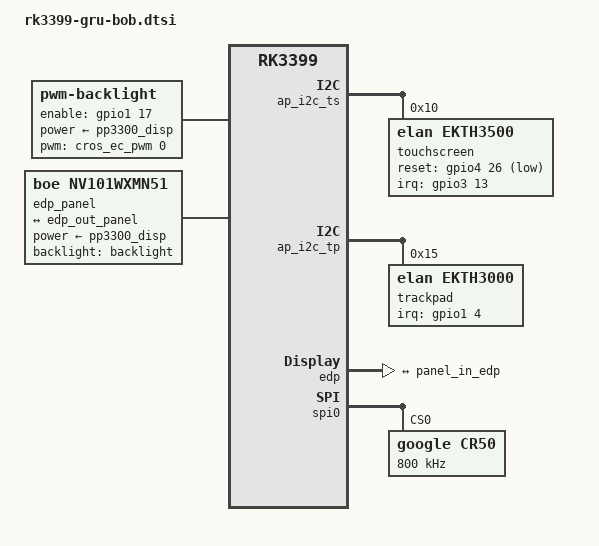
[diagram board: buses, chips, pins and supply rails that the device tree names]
/*
 * Google Gru-Bob board device tree source
 *
 * Copyright 2016 Google, Inc
 *
 * This file is dual-licensed: you can use it either under the terms
 * of the GPL or the X11 license, at your option. Note that this dual
 * licensing only applies to this file, and not this project as a
 * whole.
 *
 *  a) This file is free software; you can redistribute it and/or
 *     modify it under the terms of the GNU General Public License as
 *     published by the Free Software Foundation; either version 2 of the
 *     License, or (at your option) any later version.
 *
 *     This file is distributed in the hope that it will be useful,
 *     but WITHOUT ANY WARRANTY; without even the implied warranty of
 *     MERCHANTABILITY or FITNESS FOR A PARTICULAR PURPOSE.  See the
 *     GNU General Public License for more details.
 *
 *  Or, alternatively,
 *
 *  b) Permission is hereby granted, free of charge, to any person
 *     obtaining a copy of this software and associated documentation
 *     files (the "Software"), to deal in the Software without
 *     restriction, including without limitation the rights to use,
 *     copy, modify, merge, publish, distribute, sublicense, and/or
 *     sell copies of the Software, and to permit persons to whom the
 *     Software is furnished to do so, subject to the following
 *     conditions:
 *
 *     The above copyright notice and this permission notice shall be
 *     included in all copies or substantial portions of the Software.
 *
 *     THE SOFTWARE IS PROVIDED "AS IS", WITHOUT WARRANTY OF ANY KIND,
 *     EXPRESS OR IMPLIED, INCLUDING BUT NOT LIMITED TO THE WARRANTIES
 *     OF MERCHANTABILITY, FITNESS FOR A PARTICULAR PURPOSE AND
 *     NONINFRINGEMENT. IN NO EVENT SHALL THE AUTHORS OR COPYRIGHT
 *     HOLDERS BE LIABLE FOR ANY CLAIM, DAMAGES OR OTHER LIABILITY,
 *     WHETHER IN AN ACTION OF CONTRACT, TORT OR OTHERWISE, ARISING
 *     FROM, OUT OF OR IN CONNECTION WITH THE SOFTWARE OR THE USE OR
 *     OTHER DEALINGS IN THE SOFTWARE.
 */

#include "rk3399-gru.dtsi"

/ {
	backlight: backlight {
		compatible = "pwm-backlight";
		pwms = <&cros_ec_pwm 0>;
		brightness-levels-scale = <0x10000>;
		default-brightness-level = <0x828f>; /* arbitrary, ~51% */
		enable-gpios = <&gpio1 17 GPIO_ACTIVE_HIGH>;
		power-supply = <&pp3300_disp>;
		pinctrl-names = "default";
		pinctrl-0 = <&bl_en>;
		pwm-delay-us = <10000>;
	};

	edp_panel: edp-panel {
		compatible = "boe,nv101wxmn51", "simple-panel";
		backlight = <&backlight>;
		power-supply = <&pp3300_disp>;

		ports {
			panel_in_edp: endpoint {
				remote-endpoint = <&edp_out_panel>;
			};
		};
	};
};

&ap_i2c_ts {
	touchscreen: touchscreen@10 {
		compatible = "elan,ekth3500";
		reg = <0x10>;

		pinctrl-names = "default";
		pinctrl-0 = <&touch_int_l &touch_reset_l>;

		interrupt-parent = <&gpio3>;
		interrupts = <13 IRQ_TYPE_EDGE_FALLING>;

		reset-gpios = <&gpio4 26 GPIO_ACTIVE_LOW>;
	};
};

&ap_i2c_tp {
	trackpad: trackpad@15 {
		compatible = "elan,ekth3000";
		reg = <0x15>;

		pinctrl-names = "default";
		pinctrl-0 = <&trackpad_int_l>;

		interrupt-parent = <&gpio1>;
		interrupts = <4 IRQ_TYPE_EDGE_FALLING>;

		wakeup-source;
	};
};

&dmc_opp_table {
	opp02 {
		opp-suspend;
	};

	/delete-node/ opp03;
};

/*
 * HACK: Disabling the ddr auto power down on bob board, since that's unstable
 * during enabling the dmc, that's still need to figure out the root cause.
 */
&dmc {
	rockchip,pd_idle_dis_freq = <200000000>;
	rockchip,sr_idle_dis_freq = <200000000>;
	rockchip,sr_mc_gate_idle_dis_freq = <200000000>;
	rockchip,standby_idle_dis_freq = <200000000>;
};

&edp {
	status = "okay";

	ports {
		edp_out: port@1 {
			reg = <1>;
			#address-cells = <1>;
			#size-cells = <0>;

			edp_out_panel: endpoint@0 {
				reg = <0>;
				remote-endpoint = <&panel_in_edp>;
			};
		};
	};
};

&spi0 {
	status = "okay";

	cr50@0 {
		compatible = "google,cr50";
		reg = <0>;
		spi-max-frequency = <800000>; // TODO: review later
	};
};

&pinctrl {
	wifi {
		wlan_host_wake_l: wlan-host-wake-l {
			rockchip,pins = <0 8 RK_FUNC_GPIO &pcfg_pull_up>;
		};
	};
};
